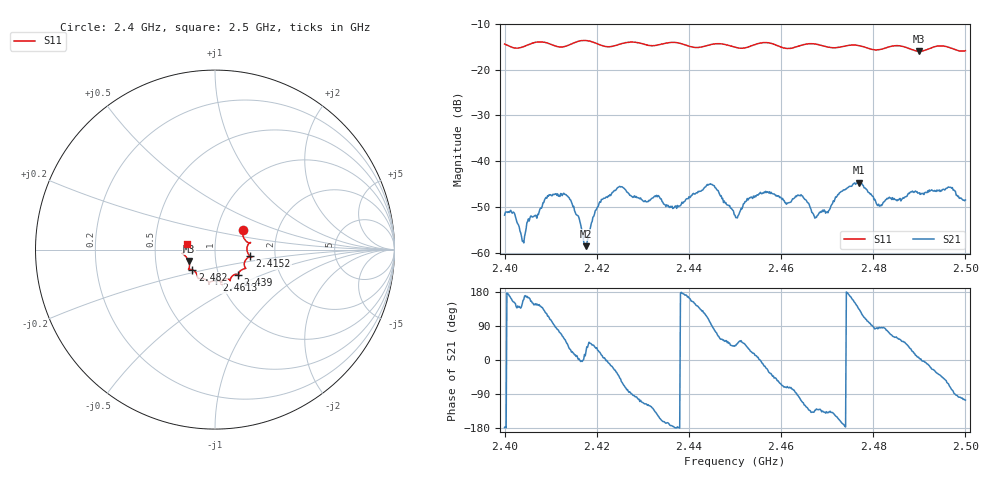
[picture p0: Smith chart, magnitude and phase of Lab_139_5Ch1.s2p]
# Hz S RI R 50
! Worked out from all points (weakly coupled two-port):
!   601 points, 2.4 GHz to 2.5 GHz, reference 50 ohm
!   highest |S21| = -44.67 dB at 2.4768 GHz (marker M1); lowest = -58.6 dB at 2.4177 GHz (marker M2)
!   lowest |S11| = -15.9 dB at 2.49 GHz (marker M3), VSWR 1.38, Z = 36.9 - j4.81 ohm
!   |S11| at or under -10 dB: start of sweep to end of sweep
!   S12 and S22 are empty: the file has one direction only
!   S11 on the Smith chart (normalised r, x): 2.4 GHz: 1.33, +0.31; 2.4152 GHz: 1.48, -0.11; 2.439 GHz: 1.24, -0.36; 2.4613 GHz: 0.96, -0.34; 2.482 GHz: 0.76, -0.17; 2.5 GHz: 0.73, +0.05
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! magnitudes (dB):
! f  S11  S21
! 2.4 GHz  -14.4  -51.8
! 2.4018 GHz  -15.1  -51.1
! 2.404 GHz  -15.0  -57.5
! 2.4095 GHz  -14.2  -47.7
! 2.4152 GHz  -14.0  -50.8
! 2.4167 GHz  -13.6  -54.7
! 2.4177 GHz  -13.6  -58.6
! 2.4207 GHz  -14.5  -48.9
! 2.4247 GHz  -14.5  -45.7
! 2.4333 GHz  -14.5  -47.5
! 2.439 GHz  -14.5  -48.9
! 2.445 GHz  -14.4  -45.1
! 2.45 GHz  -15.1  -51.8
! 2.4565 GHz  -14.0  -46.9
! 2.4613 GHz  -15.3  -49.2
! 2.4642 GHz  -14.7  -47.6
! 2.4667 GHz  -14.3  -51.2
! 2.4768 GHz  -14.7  -44.7
! 2.482 GHz  -15.4  -49.4
! 2.4833 GHz  -15.0  -48.1
! 2.49 GHz  -15.9  -46.9
! 2.5 GHz  -15.8  -48.5
